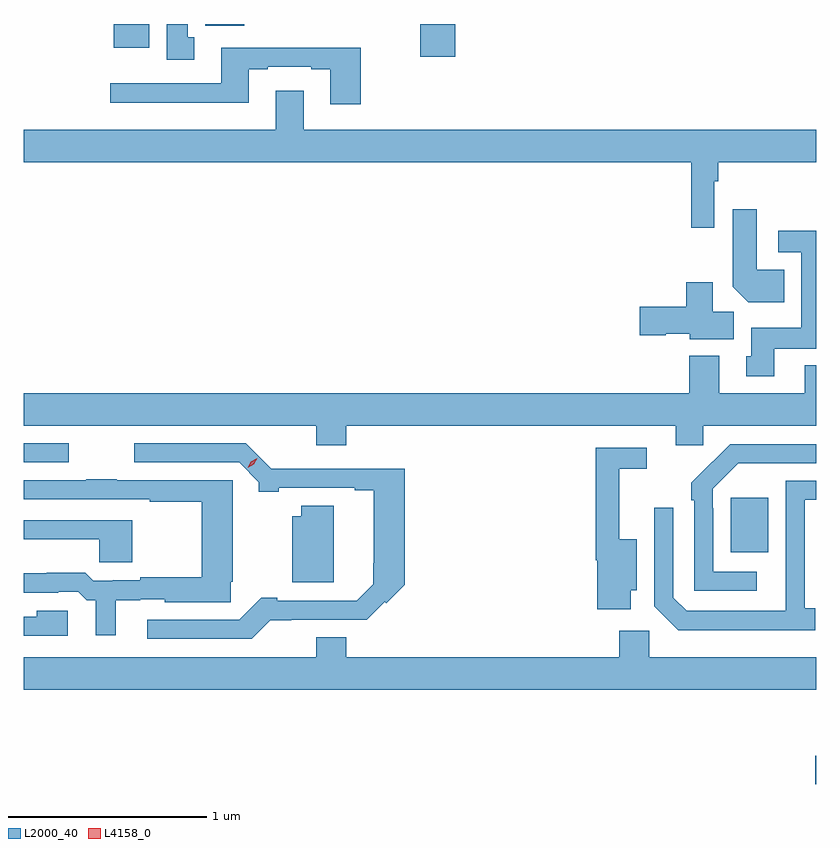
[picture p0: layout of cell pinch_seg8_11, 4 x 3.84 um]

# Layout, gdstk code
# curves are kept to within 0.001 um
import gdstk
lib = gdstk.Library(unit=1e-6, precision=1e-09)
def R(c, l, rs):  # rectangles x0, y0, x1, y1
    for r in rs: c.add(gdstk.rectangle(r[:2], r[2:], *l))
def P(c, l, *ps):  # polygons
    for p in ps: c.add(gdstk.Polygon(p, *l))
L2000_40 = (2000, 40)
L4158_0 = (4158, 0)

pinch_seg8_11 = lib.new_cell('pinch_seg8_11')
R(pinch_seg8_11, L2000_40, [(1048.674,1124.015,1048.677,1124.157), (1048.247,1125.185,1048.435,1125.46), (1044.677,1125.639,1044.904,1125.735), (1046.677,1127.688,1046.855,1127.853), (1045.13,1127.732,1045.309,1127.853), (1045.593,1127.844,1045.789,1127.853)])
P(pinch_seg8_11, L2000_40, [(1045.537,1127.785),(1045.504,1127.785),(1045.504,1127.853),(1045.397,1127.853),(1045.397,1127.673),(1045.537,1127.673)],
  [(1046.378,1127.734),(1045.673,1127.734),(1045.673,1127.553),(1045.113,1127.553),(1045.113,1127.456),(1045.813,1127.456),(1045.813,1127.625),(1045.909,1127.625),(1045.909,1127.637),(1046.129,1127.637),(1046.129,1127.625),(1046.225,1127.625),(1046.225,1127.448),(1046.378,1127.448)],
  [(1048.164,1127.06),(1048.184,1127.06),(1048.184,1127.156),(1048.677,1127.156),(1048.677,1127.32),(1046.089,1127.32),(1046.089,1127.515),(1045.949,1127.515),(1045.949,1127.32),(1044.677,1127.32),(1044.677,1127.156),(1048.048,1127.156),(1048.048,1126.824),(1048.164,1126.824)],
  [(1048.517,1126.612),(1048.378,1126.612),(1048.378,1126.918),(1048.256,1126.918),(1048.256,1126.526),(1048.334,1126.448),(1048.517,1126.448)],
  [(1048.465,1126.214),(1048.677,1126.214),(1048.677,1126.81),(1048.485,1126.81),(1048.485,1126.701),(1048.602,1126.701),(1048.602,1126.318),(1048.349,1126.318),(1048.349,1126.176),(1048.325,1126.176),(1048.325,1126.074),(1048.465,1126.074)],
  [(1048.261,1126.4),(1048.156,1126.4),(1048.156,1126.549),(1048.022,1126.549),(1048.022,1126.424),(1047.786,1126.424),(1047.786,1126.282),(1047.918,1126.282),(1047.918,1126.289),(1048.038,1126.289),(1048.038,1126.262),(1048.261,1126.262)],
  [(1046.305,1125.824),(1047.968,1125.824),(1047.968,1125.726),(1048.107,1125.726),(1048.107,1125.824),(1048.677,1125.824),(1048.677,1126.129),(1048.619,1126.129),(1048.619,1125.988),(1048.189,1125.988),(1048.189,1126.177),(1048.037,1126.177),(1048.037,1125.988),(1044.677,1125.988),(1044.677,1125.824),(1046.153,1125.824),(1046.153,1125.725),(1046.305,1125.725)],
  [(1045.922,1124.843),(1046.409,1124.844),(1046.499,1124.935),(1046.506,1124.927),(1046.6,1125.021),(1046.6,1125.606),(1046.029,1125.606),(1046.029,1125.608),(1045.925,1125.608),(1045.797,1125.735),(1045.233,1125.735),(1045.233,1125.639),(1045.764,1125.639),(1045.863,1125.54),(1045.863,1125.49),(1045.963,1125.49),(1045.963,1125.51),(1046.348,1125.51),(1046.348,1125.498),(1046.444,1125.498),(1046.444,1125.13),(1046.442,1125.13),(1046.442,1125.024),(1046.358,1124.94),(1045.957,1124.94),(1045.957,1124.956),(1045.876,1124.956),(1045.764,1124.844),(1045.299,1124.844),(1045.299,1124.748),(1045.827,1124.748)],
  [(1048.378,1125.087),(1048.158,1125.087),(1048.158,1125.407),(1048.155,1125.407),(1048.155,1125.507),(1048.284,1125.636),(1048.677,1125.636),(1048.677,1125.732),(1048.244,1125.732),(1048.047,1125.537),(1048.047,1125.449),(1048.062,1125.449),(1048.062,1124.991),(1048.378,1124.991)],
  [(1047.742,1124.993),(1047.772,1124.993),(1047.772,1125.25),(1047.683,1125.25),(1047.683,1125.606),(1047.823,1125.606),(1047.823,1125.714),(1047.565,1125.714),(1047.565,1125.146),(1047.572,1125.146),(1047.572,1124.898),(1047.742,1124.898)],
  [(1045.141,1124.942),(1045.263,1124.942),(1045.263,1124.949),(1045.389,1124.949),(1045.389,1124.933),(1045.722,1124.933),(1045.722,1125.037),(1045.731,1125.037),(1045.731,1125.549),(1045.145,1125.549),(1045.145,1125.554),(1044.991,1125.554),(1044.991,1125.549),(1044.677,1125.549),(1044.677,1125.453),(1045.312,1125.453),(1045.312,1125.441),(1045.576,1125.441),(1045.576,1125.058),(1045.263,1125.058),(1045.263,1125.045),(1045.126,1125.045),(1045.126,1125.042),(1045.026,1125.042),(1044.987,1125.082),(1044.793,1125.082),(1044.793,1125.079),(1044.677,1125.079),(1044.677,1124.982),(1044.851,1124.982),(1044.851,1124.985),(1044.951,1124.985),(1044.995,1124.942),(1045.04,1124.942),(1045.04,1124.766),(1045.141,1124.766)],
  [(1048.672,1124.902),(1048.62,1124.902),(1048.62,1125.45),(1048.677,1125.45),(1048.677,1125.546),(1048.524,1125.546),(1048.523,1124.889),(1048.023,1124.889),(1047.957,1124.955),(1047.957,1125.409),(1047.861,1125.409),(1047.861,1124.913),(1047.982,1124.792),(1048.672,1124.792)],
  [(1046.242,1125.421),(1046.077,1125.421),(1046.077,1125.367),(1046.033,1125.367),(1046.033,1125.035),(1046.242,1125.035)],
  [(1045.224,1125.348),(1044.677,1125.348),(1044.677,1125.251),(1045.058,1125.251),(1045.058,1125.135),(1045.224,1125.135)],
  [(1044.898,1124.89),(1044.742,1124.89),(1044.742,1124.859),(1044.677,1124.859),(1044.677,1124.763),(1044.898,1124.763)],
  [(1048.677,1124.656),(1047.834,1124.656),(1047.834,1124.788),(1047.683,1124.788),(1047.683,1124.656),(1046.305,1124.656),(1046.305,1124.755),(1046.153,1124.755),(1046.153,1124.656),(1044.677,1124.656),(1044.677,1124.492),(1048.677,1124.492)])
P(pinch_seg8_11, L4158_0, [(1045.806,1125.612),(1045.806,1125.613),(1045.823,1125.643),(1045.854,1125.659),(1045.854,1125.659),(1045.854,1125.659),(1045.837,1125.629),(1045.806,1125.612)])

lib.write_gds('pinch_seg8_11.gds')
